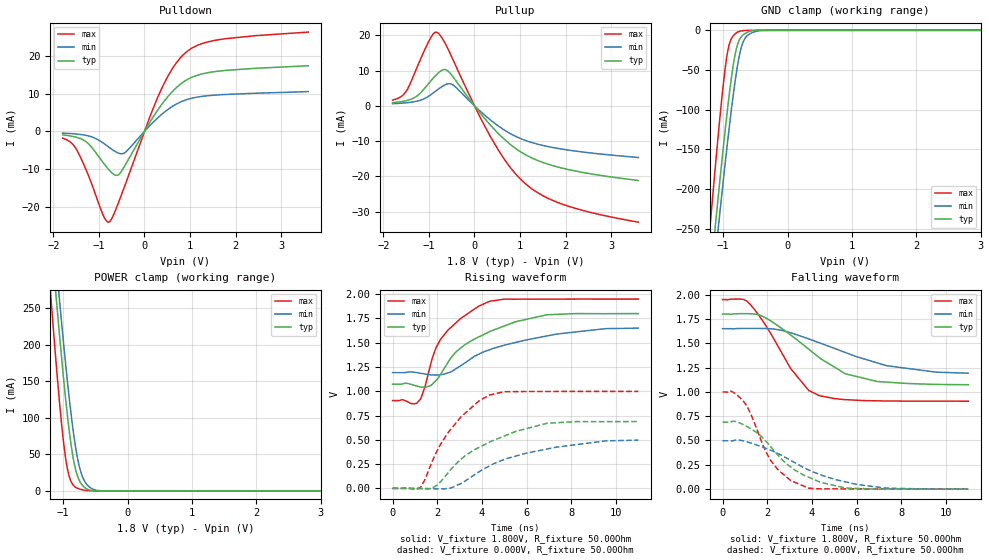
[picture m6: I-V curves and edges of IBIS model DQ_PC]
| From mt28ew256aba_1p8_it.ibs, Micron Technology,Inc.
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|   Model DQ_PC
[Model]   DQ_PC
Model_type   I/O
Vinl   = 0.800V
Vinh   = 1.260V
Vmeas  = 0.900V
|   typ   min   max
C_comp   4.086pF   3.586pF   4.586pF
[Voltage Range]   1.800V   1.650V   1.950V
| Junction Temperature (Ambient temp is 35C typ, 85C min, -40C max)
[Temperature Range]   50.0   100.0   -40.0
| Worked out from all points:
|   slope of the pulldown table from 0 to 0.27 V, typ, clamps not added: 51.2 ohm
|   slope of the pullup table from 0 to 0.27 V, typ, clamps not added: 63.2 ohm
|   GND clamp passes 1 mA (typ) near -0.58 V on its own axis
|   POWER clamp passes 1 mA (typ) near -0.57 V on its own axis
|   falling waveform, V_fixture 1.800V, R_fixture 50.00Ohm: 20-80 % time 2.63ns typ, 3.45ns min, 1.74ns max; typ from 1.8 V to 1.07 V
|   rising waveform, V_fixture 1.800V, R_fixture 50.00Ohm: 20-80 % time 2.53ns typ, 3.47ns min, 1.48ns max; typ from 1.07 V to 1.8 V
|   rising waveform, V_fixture 0.000V, R_fixture 50.00Ohm: 20-80 % time 2.72ns typ, 3.34ns min, 1.73ns max; typ from 0 V to 0.689 V
|   falling waveform, V_fixture 0.000V, R_fixture 50.00Ohm: 20-80 % time 2ns typ, 2.87ns min, 1.27ns max; typ from 0.689 V to 0 V
[Pulldown]
|   Voltage   I(typ)   I(min)   I(max)
-1.8V     -949.4uA   -483.4uA   -1.803mA
-1.487V   -1.596mA   -724.4uA   -4.983mA
-1.217V   -3.468mA   -1.266mA   -12.18mA
-903.6mV  -8.391mA   -3.138mA   -22.39mA
-774mV    -10.32mA   -4.287mA   -24.06mA
-547.2mV  -11.27mA   -5.894mA   -18.16mA
-406.8mV  -8.598mA   -5.431mA   -13.61mA
279mV     5.442mA    3.441mA    8.706mA
581.4mV   10.17mA    6.371mA    16.05mA
840.6mV   13mA       8.045mA    20.21mA
1.548V    15.87mA    9.621mA    24.18mA
3.6V      17.43mA    10.55mA    26.37mA
[GND Clamp]
|   Voltage   I(typ)   I(min)   I(max)
-1.8V     -842.9mA   -854.1mA   -830mA
-1.201V   -313.2mA   -348.8mA   -244.7mA
-1.109V   -236.3mA   -275.3mA   -160.6mA
-1.06V    -196.8mA   -237.3mA   -118.2mA
-990mV    -141.9mA   -183.8mA   -62.58mA
-930.6mV  -98.21mA   -140.4mA   -27.1mA
-844.2mV  -44.25mA   -82.25mA   -7.023mA
-779.4mV  -18.6mA    -45.67mA   -2.416mA
-725.4mV  -8.925mA   -23.92mA   -857.1uA
-655.2mV  -3.803mA   -9.396mA   -193.4uA
-439.2mV  -19.91uA   -463.7uA   -310nA
3.6V      0A         0A         0A
[Pullup]
|   Voltage   I(typ)   I(min)   I(max)
-1.8V     902.2uA    596.6uA    1.627mA
-1.498V   1.478mA    874.8uA    4.168mA
-1.249V   2.933mA    1.388mA    11.32mA
-1.017V   6.197mA    2.644mA    17.98mA
-833.4mV  8.874mA    4.369mA    20.9mA
-649.8mV  10.3mA     5.932mA    17.82mA
-482.4mV  8.404mA    6.01mA     13.35mA
365.4mV   -5.689mA   -4.153mA   -9.06mA
754.2mV   -10.58mA   -7.625mA   -16.9mA
1.057V    -13.36mA   -9.494mA   -21.33mA
1.894V    -17.54mA   -12.19mA   -27.69mA
3.6V      -21.15mA   -14.63mA   -32.96mA
[POWER Clamp]
|   Voltage   I(typ)   I(min)   I(max)
-1.8V     1.045A     1.064A     1.019A
-1.201V   361.2mA    405.4mA    275.9mA
-1.179V   338.1mA    383.2mA    251.5mA
-1.109V   264.8mA    311.9mA    174.2mA
-1.06V    216.2mA    264.2mA    124.7mA
-995.4mV  155.4mA    203.4mA    67.77mA
-946.8mV  113.7mA    160.5mA    36.37mA
-871.2mV  59.76mA    100.9mA    11.84mA
-795.6mV  25.58mA    54.04mA    4.432mA
-676.8mV  5.491mA    14.9mA     1.149mA
-460.8mV  118.4uA    578.4uA    13.97uA
3.6V      0A         0A         0A
[Ramp]
R_load = 50.00Ohm
|   typ   min   max
dV/dt_r   413.133mV/2.719ns   298.363mV/3.345ns   598.490mV/1.731ns
dV/dt_f   435.909mV/2.629ns   274.913mV/3.448ns   627.094mV/1.735ns
[Falling Waveform]
V_fixture = 1.800V
V_fixture_min = 1.650V
V_fixture_max = 1.950V
R_fixture = 50.00Ohm
|   Time   V(typ)   V(min)   V(max)
0s        1.8V       1.65V      1.949V
950ps     1.804V     1.653V     1.95V
1.25ns    1.803V     1.653V     1.897V
2.03ns    1.748V     1.651V     1.647V
3.05ns    1.585V     1.607V     1.239V
3.85ns    1.441V     1.545V     1.016V
4.33ns    1.352V     1.505V     961.3mV
5.5ns     1.186V     1.405V     920.2mV
6.91ns    1.107V     1.299V     907.7mV
11ns      1.073V     1.192V     904.1mV
[Rising Waveform]
V_fixture = 1.800V
V_fixture_min = 1.650V
V_fixture_max = 1.950V
R_fixture = 50.00Ohm
|   Time   V(typ)   V(min)   V(max)
0s        1.073V     1.192V     904.1mV
1.09ns    1.052V     1.192V     878mV
1.26ns    1.044V     1.185V     922.9mV
1.45ns    1.043V     1.178V     1.046V
1.73ns    1.062V     1.169V     1.299V
2.15ns    1.175V     1.171V     1.536V
2.87ns    1.412V     1.237V     1.712V
4.32ns    1.611V     1.426V     1.925V
6.91ns    1.788V     1.57V      1.949V
11ns      1.8V       1.65V      1.949V
[Rising Waveform]
V_fixture = 0.000V
V_fixture_min = 0.000V
V_fixture_max = 0.000V
R_fixture = 50.00Ohm
|   Time   V(typ)   V(min)   V(max)
0s        9.561uV    5.716uV    1.022mV
1.26ns    -4.008mV   325.1uV    12.88mV
1.73ns    -2.216mV   -2.584mV   253.3mV
2.47ns    156mV      166.9uV    569.4mV
3.24ns    334.8mV    74.48mV    772.9mV
4.33ns    475.6mV    230.8mV    961.1mV
4.98ns    537.5mV    296.2mV    995.1mV
6.91ns    670.6mV    405.4mV    998.1mV
9.55ns    687.2mV    489.5mV    998.5mV
11ns      688.6mV    497.3mV    998.5mV
[Falling Waveform]
V_fixture = 0.000V
V_fixture_min = 0.000V
V_fixture_max = 0.000V
R_fixture = 50.00Ohm
|   Time   V(typ)   V(min)   V(max)
0s        688.6mV    497.3mV    998.5mV
420ps     695.5mV    496.6mV    1.003V
960ps     659mV      494.3mV    896.8mV
1.26ns    621.4mV    474.3mV    774.9mV
1.95ns    490.1mV    418.4mV    379mV
2.47ns    351.3mV    367mV      201.6mV
3.85ns    122.3mV    197.4mV    10.37mV
5.5ns     11.28mV    74.67mV    1.812mV
7.34ns    187.5uV    9.693mV    1.165mV
11ns      9.561uV    5.716uV    1.022mV
